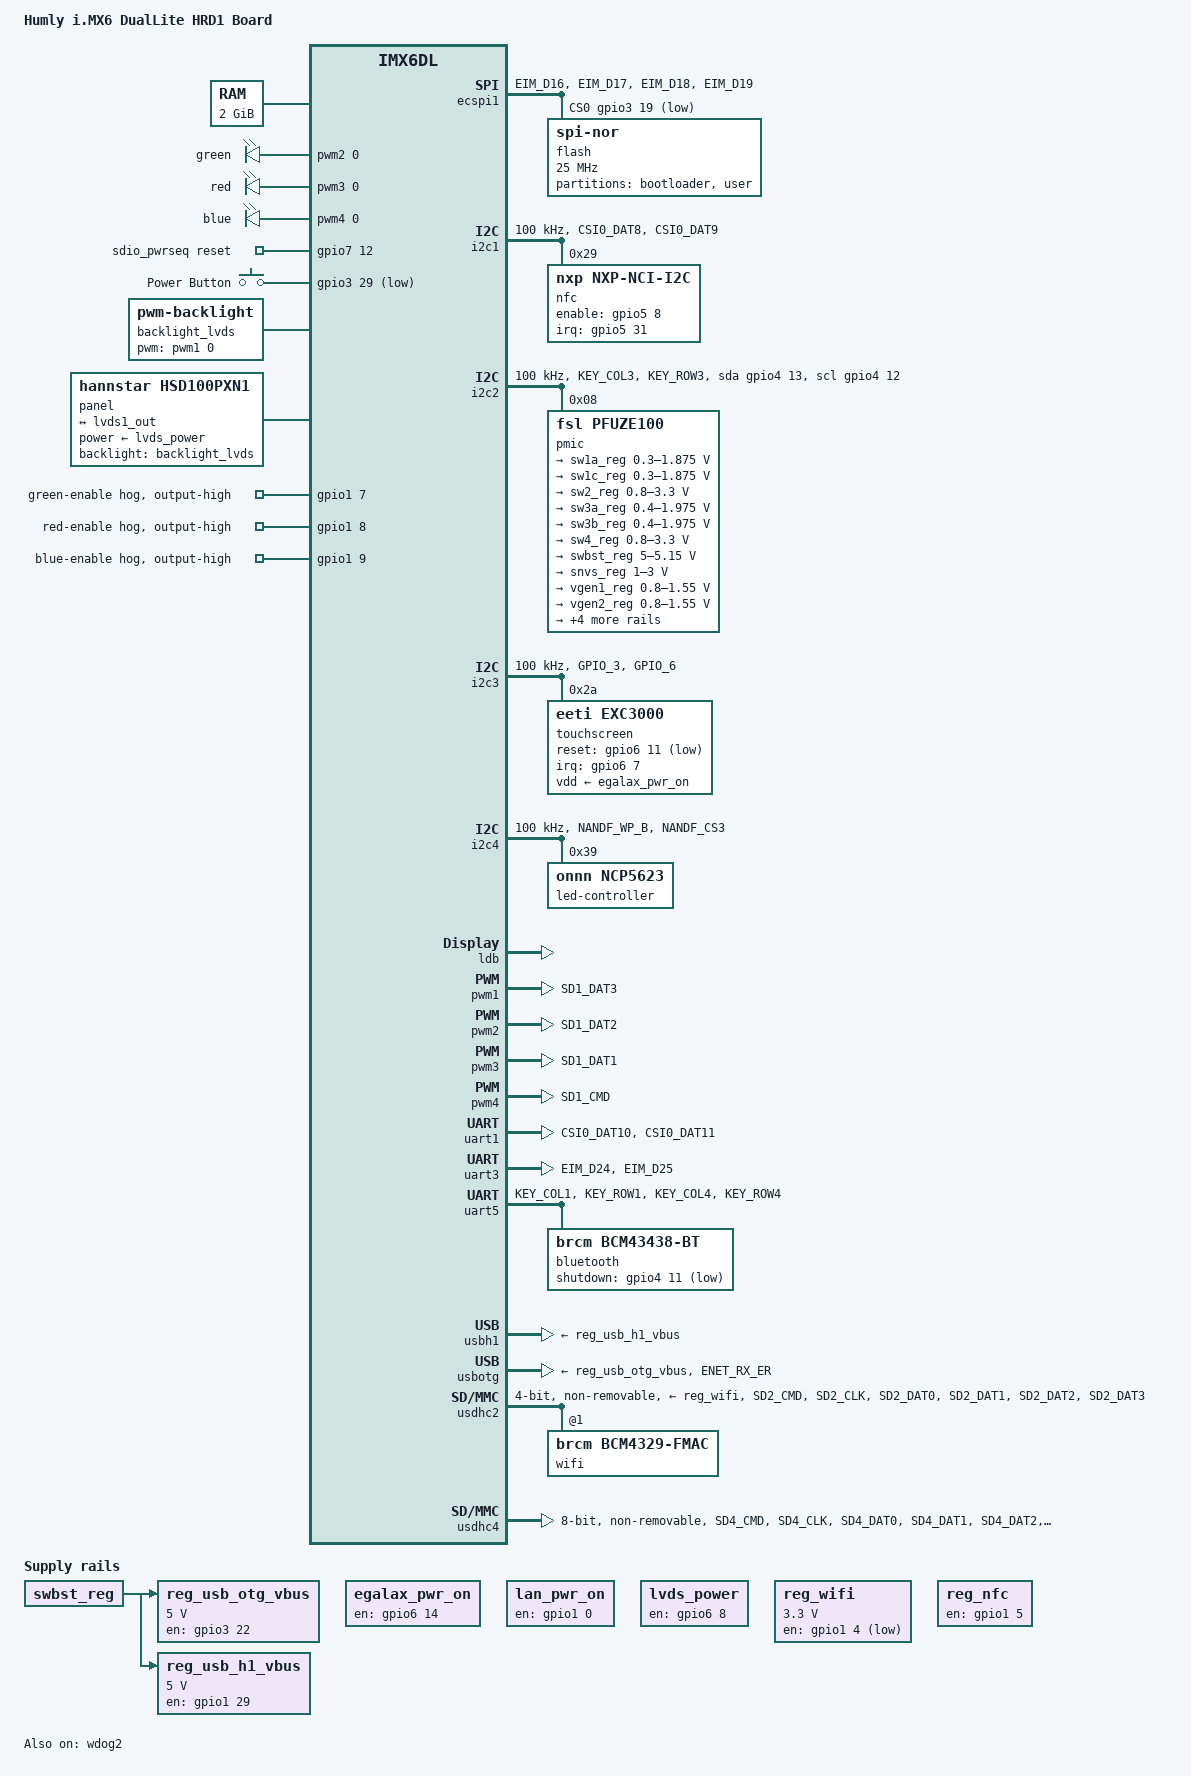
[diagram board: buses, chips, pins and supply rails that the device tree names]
// SPDX-License-Identifier: (GPL-2.0 OR MIT)
//
// Copyright (C) 2025 Fabio Estevam

/dts-v1/;

#include <dt-bindings/clock/imx6qdl-clock.h>
#include <dt-bindings/gpio/gpio.h>
#include <dt-bindings/input/input.h>
#include <dt-bindings/leds/common.h>

#include "imx6dl.dtsi"

/ {
	model = "Humly i.MX6 DualLite HRD1 Board";
	compatible = "humly,imx6dl-hrd1", "fsl,imx6dl";

	chosen {
		stdout-path = &uart1;
	};

	aliases {
		mmc0 = &usdhc4;
		mmc1 = &usdhc2;
	};

	memory: memory@10000000 {
		device_type = "memory";
		reg = <0x10000000 0x80000000>;
	};

	led-controller {
		compatible = "pwm-leds";

		led-0 {
			label = "green";
			pwms = <&pwm2 0 5000000 0>;
			max-brightness = <255>;
		};

		led-1 {
			label = "red";
			pwms = <&pwm3 0 5000000 0>;
			max-brightness = <255>;
		};

		led-2 {
			label = "blue";
			pwms = <&pwm4 0 5000000 0>;
			max-brightness = <255>;
		};
	};

	reg_usb_otg_vbus: regulator-usb-otg-vbus {
		compatible = "regulator-fixed";
		regulator-name = "usb_otg_vbus";
		regulator-min-microvolt = <5000000>;
		regulator-max-microvolt = <5000000>;
		gpio = <&gpio3 22 GPIO_ACTIVE_HIGH>;
		enable-active-high;
		vin-supply = <&swbst_reg>;
	};

	reg_usb_h1_vbus: regulator-usb-h1-vbus {
		compatible = "regulator-fixed";
		regulator-name = "usb_h1_vbus";
		regulator-min-microvolt = <5000000>;
		regulator-max-microvolt = <5000000>;
		gpio = <&gpio1 29 GPIO_ACTIVE_HIGH>;
		enable-active-high;
		vin-supply = <&swbst_reg>;
	};

	egalax_pwr_on: regulator-egalax-pwr-on {
		compatible = "regulator-fixed";
		enable-active-high;
		gpio = <&gpio6 14 GPIO_ACTIVE_HIGH>;
		pinctrl-names = "default";
		pinctrl-0 = <&pinctrl_egalax_pwr_on>;
		regulator-name = "egalax_pwr_on";
	};

	lan_pwr_on: reguator-lan-pwr-on {
		compatible = "regulator-fixed";
		enable-active-high;
		gpio = <&gpio1 0 GPIO_ACTIVE_HIGH>;
		pinctrl-names = "default";
		pinctrl-0 = <&pinctrl_lanpwr>;
		regulator-name = "lan_pwr_on";
		regulator-always-on;
		regulator-boot-on;
	};

	lvds_power: regulator-lvds-power {
		compatible = "regulator-fixed";
		enable-active-high;
		gpio = <&gpio6 8 GPIO_ACTIVE_HIGH>;
		pinctrl-names = "default";
		pinctrl-0 = <&pinctrl_lvds_power>;
		regulator-name = "lvds_power";
		regulator-always-on;
		regulator-boot-on;
	};

	reg_wifi: regulator-wifi {
		compatible = "regulator-fixed";
		gpio = <&gpio1 4 GPIO_ACTIVE_LOW>;
		pinctrl-names = "default";
		pinctrl-0 = <&pinctrl_wifi_reg>;
		regulator-name = "wifi_reg";
		regulator-min-microvolt = <3300000>;
		regulator-max-microvolt = <3300000>;
	};

	reg_nfc: regulator-nfc {
		compatible = "regulator-fixed";
		gpio = <&gpio1 5 GPIO_ACTIVE_HIGH>;
		enable-active-high;
		regulator-name = "nfc_reg";
		regulator-always-on;
		regulator-boot-on;
	};

	sdio_pwrseq: sdio-pwrseq {
		compatible = "mmc-pwrseq-simple";
		pinctrl-names = "default";
		pinctrl-0 = <&pinctrl_wl_reg_on>;
		post-power-on-delay-ms = <200>;
		/* WL_REG_ON pin goes through an inverter */
		reset-gpios = <&gpio7 12 GPIO_ACTIVE_HIGH>;
	};

	gpio-keys {
		compatible = "gpio-keys";
		pinctrl-names = "default";
		pinctrl-0 = <&pinctrl_gpio_keys>;

		button {
			label = "Power Button";
			gpios = <&gpio3 29 GPIO_ACTIVE_LOW>;
			wakeup-source;
			linux,code = <KEY_POWER>;
		};
	};

	backlight_lvds: backlight-lvds {
		compatible = "pwm-backlight";
		pwms = <&pwm1 0 100000 0>;
		brightness-levels = <0 4 8 16 32 64 128 255>;
		default-brightness-level = <7>;
		status = "okay";
	};

	panel {
		compatible = "hannstar,hsd100pxn1";
		backlight = <&backlight_lvds>;
		power-supply = <&lvds_power>;

		port {
			panel_in: endpoint {
				remote-endpoint = <&lvds1_out>;
			};
		};
	};
};

&clks {
	assigned-clocks = <&clks IMX6QDL_CLK_LDB_DI0_SEL>,
			  <&clks IMX6QDL_CLK_LDB_DI1_SEL>;
	assigned-clock-parents = <&clks IMX6QDL_CLK_PLL2_PFD0_352M>,
				 <&clks IMX6QDL_CLK_PLL2_PFD0_352M>;
};

&ecspi1 {
	pinctrl-names = "default";
	pinctrl-0 = <&pinctrl_ecspi1>;
	cs-gpios = <&gpio3 19 GPIO_ACTIVE_LOW>;
	status = "okay";

	flash@0 {
		compatible = "jedec,spi-nor";
		reg = <0>;
		#address-cells = <1>;
		#size-cells = <1>;
		spi-max-frequency = <25000000>;


		partition@0 {
			label = "bootloader";
			reg = <0x0000000 0x100000>;
		};

		partition@100000 {
			label = "user";
			reg = <0x0100000 0x020000>;
		};
	};
};

&gpio1 {
	green-hog {
		gpio-hog;
		gpios = <7 GPIO_ACTIVE_HIGH>;
		line-name = "green-enable";
		output-high;
	};

	red-hog {
		gpio-hog;
		gpios = <8 GPIO_ACTIVE_HIGH>;
		line-name = "red-enable";
		output-high;
	};

	blue-hog {
		gpio-hog;
		gpios = <9 GPIO_ACTIVE_HIGH>;
		line-name = "blue-enable";
		output-high;
	};
};

&i2c1 {
	clock-frequency = <100000>;
	pinctrl-names = "default";
	pinctrl-0 = <&pinctrl_i2c1>;
	status = "okay";

        nfc@29 {
		compatible = "nxp,nxp-nci-i2c";
		reg = <0x29>;
		interrupt-parent = <&gpio5>;
		interrupts = <31 IRQ_TYPE_LEVEL_HIGH>;
		enable-gpios = <&gpio5 8 GPIO_ACTIVE_HIGH>;
	};
};

&i2c2 {
	clock-frequency = <100000>;
	pinctrl-names = "default", "gpio";
	pinctrl-0 = <&pinctrl_i2c2>;
	pinctrl-1 = <&pinctrl_i2c2_gpio>;
	scl-gpios = <&gpio4 12 GPIO_ACTIVE_HIGH>;
	sda-gpios = <&gpio4 13 GPIO_ACTIVE_HIGH>;
	status = "okay";

	pmic@8 {
		compatible = "fsl,pfuze100";
		reg = <0x08>;

		regulators {
			sw1a_reg: sw1ab {
				regulator-min-microvolt = <300000>;
				regulator-max-microvolt = <1875000>;
				regulator-boot-on;
				regulator-always-on;
				regulator-ramp-delay = <6250>;
			};

			sw1c_reg: sw1c {
				regulator-min-microvolt = <300000>;
				regulator-max-microvolt = <1875000>;
				regulator-boot-on;
				regulator-always-on;
				regulator-ramp-delay = <6250>;
			};

			sw2_reg: sw2 {
				regulator-min-microvolt = <800000>;
				regulator-max-microvolt = <3300000>;
				regulator-boot-on;
				regulator-always-on;
				regulator-ramp-delay = <6250>;
			};

			sw3a_reg: sw3a {
				regulator-min-microvolt = <400000>;
				regulator-max-microvolt = <1975000>;
				regulator-boot-on;
				regulator-always-on;
			};

			sw3b_reg: sw3b {
				regulator-min-microvolt = <400000>;
				regulator-max-microvolt = <1975000>;
				regulator-boot-on;
				regulator-always-on;
			};

			sw4_reg: sw4 {
				regulator-min-microvolt = <800000>;
				regulator-max-microvolt = <3300000>;
				regulator-always-on;
			};

			swbst_reg: swbst {
				regulator-min-microvolt = <5000000>;
				regulator-max-microvolt = <5150000>;
			};

			snvs_reg: vsnvs {
				regulator-min-microvolt = <1000000>;
				regulator-max-microvolt = <3000000>;
				regulator-boot-on;
				regulator-always-on;
			};

			vref_reg: vrefddr {
				regulator-boot-on;
				regulator-always-on;
			};

			vgen1_reg: vgen1 {
				regulator-min-microvolt = <800000>;
				regulator-max-microvolt = <1550000>;
			};

			vgen2_reg: vgen2 {
				regulator-min-microvolt = <800000>;
				regulator-max-microvolt = <1550000>;
			};

			vgen3_reg: vgen3 {
				regulator-min-microvolt = <1800000>;
				regulator-max-microvolt = <3300000>;
			};

			vgen4_reg: vgen4 {
				regulator-min-microvolt = <1800000>;
				regulator-max-microvolt = <3300000>;
				regulator-always-on;
			};

			vgen5_reg: vgen5 {
				regulator-min-microvolt = <1800000>;
				regulator-max-microvolt = <3300000>;
				regulator-always-on;
			};

			vgen6_reg: vgen6 {
				regulator-min-microvolt = <1800000>;
				regulator-max-microvolt = <3300000>;
				regulator-always-on;
			};
		};
	};
};

&i2c3 {
	clock-frequency = <100000>;
	pinctrl-names = "default";
	pinctrl-0 = <&pinctrl_i2c3>;
	status = "okay";

	touchscreen@2a {
		compatible = "eeti,exc3000";
		pinctrl-names = "default";
		pinctrl-0 = <&pinctrl_i2c2_egalax_int>;
		reg = <0x2a>;
		interrupt-parent = <&gpio6>;
		interrupts = <7 IRQ_TYPE_LEVEL_LOW>;
		vdd-supply = <&egalax_pwr_on>;
		touchscreen-size-x = <1024>;
		touchscreen-size-y = <768>;
		reset-gpios = <&gpio6 11 GPIO_ACTIVE_LOW>;
	};
};

&i2c4 {
	clock-frequency = <100000>;
	pinctrl-names = "default";
	pinctrl-0 = <&pinctrl_i2c4>;
	status = "okay";

	led-controller@39 {
		compatible = "onnn,ncp5623";
		reg = <0x39>;

		multi-led {
			color = <LED_COLOR_ID_RGB>;
			#address-cells = <1>;
			#size-cells = <0>;

			led@0 {
				reg = <0>;
				color = <LED_COLOR_ID_GREEN>;
			};

			led@1 {
				reg = <1>;
				color = <LED_COLOR_ID_RED>;
			};

			led@2 {
				reg = <2>;
				color = <LED_COLOR_ID_BLUE>;
			};
		};
	};
};

&ldb {
	status = "okay";

	lvds-channel@1 {
		fsl,data-mapping = "spwg";
		fsl,data-width = <24>;
		status = "okay";

		port@4 {
			reg = <4>;

			lvds1_out: endpoint {
				remote-endpoint = <&panel_in>;
			};
		};
	};
};

&pwm1 {
	pinctrl-names = "default";
	pinctrl-0 = <&pinctrl_pwm1>;
	status = "okay";
};

&pwm2 {
	pinctrl-names = "default";
	pinctrl-0 = <&pinctrl_pwm2>;
	status = "okay";
};

&pwm3 {
	pinctrl-names = "default";
	pinctrl-0 = <&pinctrl_pwm3>;
	status = "okay";
};

&pwm4 {
	pinctrl-names = "default";
	pinctrl-0 = <&pinctrl_pwm4>;
	status = "okay";
};

&reg_arm {
	vin-supply = <&sw1a_reg>;
};

&reg_pu {
	in-supply = <&sw1c_reg>;
};

&reg_soc {
	vin-supply = <&sw1c_reg>;
};

&reg_vdd1p1 {
	vin-supply = <&vgen5_reg>;
};

&reg_vdd2p5 {
	vin-supply = <&vgen5_reg>;
};

&snvs_poweroff {
	status = "okay";
};

&uart1 {
	pinctrl-names = "default";
	pinctrl-0 = <&pinctrl_uart1>;
	status = "okay";
};

&uart3 {
	pinctrl-names = "default";
	pinctrl-0 = <&pinctrl_uart3>;
	uart-has-rtscts;
	status = "okay";
};

/* Bluetooth */
&uart5 {
	pinctrl-names = "default";
	pinctrl-0 = <&pinctrl_uart5>;
	uart-has-rtscts;
	status = "okay";

	bluetooth {
		compatible = "brcm,bcm43438-bt";
		max-speed = <3000000>;
		shutdown-gpios = <&gpio4 11 GPIO_ACTIVE_LOW>;
	};
};

&usbh1 {
	vbus-supply = <&reg_usb_h1_vbus>;
	status = "okay";
};

&usbotg {
	vbus-supply = <&reg_usb_otg_vbus>;
	pinctrl-names = "default";
	pinctrl-0 = <&pinctrl_usbotg>;
	disable-over-current;
	status = "okay";
};

/* SDIO */
&usdhc2 {
	#address-cells = <1>;
	#size-cells = <0>;
	pinctrl-names = "default";
	pinctrl-0 = <&pinctrl_usdhc2>;
	pinctrl-1 = <&pinctrl_usdhc2_100mhz>;
	pinctrl-2 = <&pinctrl_usdhc2_200mhz>;
	vmmc-supply = <&reg_wifi>;
	bus-width = <4>;
	non-removable;
	keep-power-in-suspend;
	mmc-pwrseq = <&sdio_pwrseq>;
	status = "okay";

	wifi@1 {
		compatible = "brcm,bcm4329-fmac";
		reg = <1>;
	};
};

/* eMMC */
&usdhc4 {
	pinctrl-names = "default";
	pinctrl-0 = <&pinctrl_usdhc4>;
	bus-width = <8>;
	non-removable;
	no-1-8-v;
	status = "okay";
};

&wdog1 {
	status = "disabled";
};

&wdog2 {
	pinctrl-names = "default";
	pinctrl-0 = <&pinctrl_wdog>;
	fsl,ext-reset-output;
	status = "okay";
};

&iomuxc {
	pinctrl-names = "default";
	pinctrl-0 = <&pinctrl_hog>;

	pinctrl_hog: hoggrp {
		fsl,pins = <
			MX6QDL_PAD_SD3_DAT4__GPIO7_IO01         0x1b0b0 // TP14
			MX6QDL_PAD_SD3_DAT5__GPIO7_IO00         0x1b0b0 // TP15
			MX6QDL_PAD_SD3_DAT6__GPIO6_IO18         0x1b0b0 // TP13
			MX6QDL_PAD_SD3_DAT7__GPIO6_IO17         0x1b0b0 // TP16
			MX6QDL_PAD_SD3_RST__GPIO7_IO08          0x1b0b0 // TP18
			MX6QDL_PAD_ENET_TXD1__GPIO1_IO29        0x1b0b0 // USB_H1_PWR_EN
			MX6QDL_PAD_ENET_CRS_DV__GPIO1_IO25      0x1b0b0 // RGMII_nRST
			MX6QDL_PAD_KEY_COL0__GPIO4_IO06         0x1b0b0 // BT_WAKUP_B
			MX6QDL_PAD_KEY_ROW0__GPIO4_IO07         0x1b0b0 // TP12
			MX6QDL_PAD_KEY_COL2__GPIO4_IO10         0x1b0b0 // LCD_STBYB
			MX6QDL_PAD_GPIO_2__GPIO1_IO02           0x1b0b0 // BT_HOST_WAKEUP_B
			MX6QDL_PAD_GPIO_5__GPIO1_IO05           0x1b0b0 // NFC_PWREN
			MX6QDL_PAD_GPIO_7__GPIO1_IO07           0x1b0b0 // LED_GREEN
			MX6QDL_PAD_GPIO_8__GPIO1_IO08           0x1b0b0 // LED_RED
			MX6QDL_PAD_GPIO_9__GPIO1_IO09           0x1b0b0 // LED_BLUE
			MX6QDL_PAD_GPIO_18__GPIO7_IO13          0x1b0b0 // PMIC_INT_B
			MX6QDL_PAD_GPIO_19__GPIO4_IO05          0x1b0b0 // SENSOR_INT
			MX6QDL_PAD_NANDF_CS0__GPIO6_IO11        0x1b0b0 // TOUCH_RST
			MX6QDL_PAD_NANDF_CS2__GPIO6_IO15        0x1b0b0 // TOUCH_MODE_SW
			MX6QDL_PAD_NANDF_RB0__GPIO6_IO10        0x1b0b0 // AUX_5V_EN
			MX6QDL_PAD_NANDF_D0__GPIO2_IO00         0x1b0b0 // SD3_CD_B
			MX6QDL_PAD_NANDF_D1__GPIO2_IO01         0x1b0b0 // SD3_WP
			MX6QDL_PAD_NANDF_D2__GPIO2_IO02         0x1b0b0 // SD2_CD_B
			MX6QDL_PAD_NANDF_D3__GPIO2_IO03         0x1b0b0 // SD2_WP
			MX6QDL_PAD_NANDF_D4__GPIO2_IO04         0x1b0b0 // TP51
			MX6QDL_PAD_NANDF_D5__GPIO2_IO05         0x1b0b0 // TP49
			MX6QDL_PAD_NANDF_D6__GPIO2_IO06         0x1b0b0 // TP19
			MX6QDL_PAD_NANDF_D7__GPIO2_IO07         0x1b0b0 // TP50
			MX6QDL_PAD_CSI0_DAT13__GPIO5_IO31       0x1b0b0 // NFC_IRQ
			MX6QDL_PAD_CSI0_DAT17__GPIO6_IO03       0x1b0b0 // NFC_FW_UG
			MX6QDL_PAD_CSI0_DAT19__GPIO6_IO05       0x1b0b0 // TP39
			MX6QDL_PAD_EIM_D22__GPIO3_IO22          0x1b0b0 // USB_OTG_PWR_EN
			MX6QDL_PAD_EIM_D30__USB_H1_OC           0x1b0b0 // USB_OTG_OC
			MX6QDL_PAD_EIM_EB3__GPIO2_IO31          0x1b0b0 // SENSOR_PWR_EN
			MX6QDL_PAD_DISP0_DAT18__GPIO5_IO12      0x1b0b0 // SPINOR_WP
			MX6QDL_PAD_DISP0_DAT14__GPIO5_IO08      0x1b0b0 // NFC_VEN
			MX6QDL_PAD_DISP0_DAT17__GPIO5_IO11      0x1b0b0 // BOARD_ID0
			MX6QDL_PAD_DISP0_DAT22__GPIO5_IO16      0x1b0b0 // BOARD_ID1
			MX6QDL_PAD_DISP0_DAT23__GPIO5_IO17      0x1b0b0 // BOARD_ID2
			MX6QDL_PAD_KEY_ROW2__GPIO4_IO11         0x1b0b0 // BT_RESET
		>;
	};

	pinctrl_ecspi1: ecspi1grp {
		fsl,pins = <
			MX6QDL_PAD_EIM_D16__ECSPI1_SCLK         0x100b1
			MX6QDL_PAD_EIM_D17__ECSPI1_MISO         0x100b1
			MX6QDL_PAD_EIM_D18__ECSPI1_MOSI         0x100b1
			MX6QDL_PAD_EIM_D19__GPIO3_IO19          0x100b1
		>;
	};

	pinctrl_gpio_keys: gpio_keysgrp {
		fsl,pins = <
			MX6QDL_PAD_EIM_D29__GPIO3_IO29 0x1b0b0
		>;
	};

	pinctrl_i2c1: i2c1grp {
		fsl,pins = <
			MX6QDL_PAD_CSI0_DAT8__I2C1_SDA		0x4001b8b1
			MX6QDL_PAD_CSI0_DAT9__I2C1_SCL		0x4001b8b1
			>;
	};

	pinctrl_i2c2: i2c2grp {
		fsl,pins = <
			MX6QDL_PAD_KEY_COL3__I2C2_SCL		0x4001b8b1
			MX6QDL_PAD_KEY_ROW3__I2C2_SDA		0x4001b8b1
			>;
	};

	pinctrl_i2c2_gpio: i2c2_gpio_grp {
		fsl,pins = <
			MX6QDL_PAD_KEY_COL3__GPIO4_IO12		0x1b8b0
			MX6QDL_PAD_KEY_ROW3__GPIO4_IO13		0x1b0b0
		>;
	};

	pinctrl_i2c2_egalax_int: i2c2egalaxintgrp {
		fsl,pins = <
			MX6QDL_PAD_NANDF_CLE__GPIO6_IO07        0x1b0b0
		>;
	};

	pinctrl_egalax_pwr_on: egalaxpwrgrp {
		fsl,pins = <
			MX6QDL_PAD_NANDF_CS1__GPIO6_IO14        0x1b0b0
		>;
	};

	pinctrl_i2c3: i2c3grp {
		fsl,pins = <
			MX6QDL_PAD_GPIO_3__I2C3_SCL		0x4001b8b1
			MX6QDL_PAD_GPIO_6__I2C3_SDA		0x4001b8b1
		>;
	};

	pinctrl_i2c4: i2c4grp {
		fsl,pins = <
			MX6QDL_PAD_NANDF_WP_B__I2C4_SCL         0x4001b8b1
			MX6QDL_PAD_NANDF_CS3__I2C4_SDA          0x4001b8b1
		>;
	};

	pinctrl_lvds_power: lvdspwrgrp {
		fsl,pins = <
			MX6QDL_PAD_NANDF_ALE__GPIO6_IO08        0x1b0b0
		>;
	};

	pinctrl_pwm1: pwm1grp {
		fsl,pins = <
			MX6QDL_PAD_SD1_DAT3__PWM1_OUT		0x1b0b1
		>;
	};

	pinctrl_pwm2: pwm2grp {
		fsl,pins = <
			MX6QDL_PAD_SD1_DAT2__PWM2_OUT           0x1b0b1
		>;
	};

	pinctrl_pwm3: pwm3grp {
		fsl,pins = <
			MX6QDL_PAD_SD1_DAT1__PWM3_OUT           0x1b0b1
		>;
	};

	pinctrl_pwm4: pwm4grp {
		fsl,pins = <
			MX6QDL_PAD_SD1_CMD__PWM4_OUT            0x1b0b1
		>;
	};

	pinctrl_uart1: uart1grp {
		fsl,pins = <
			MX6QDL_PAD_CSI0_DAT10__UART1_TX_DATA	0x1b0b1
			MX6QDL_PAD_CSI0_DAT11__UART1_RX_DATA	0x1b0b1
		>;
	};

	pinctrl_uart3: uart3grp {
		fsl,pins = <
			MX6QDL_PAD_EIM_D24__UART3_TX_DATA       0x1b0b1
			MX6QDL_PAD_EIM_D25__UART3_RX_DATA       0x1b0b1
		>;
	};

	pinctrl_uart5: uart5grp {
		fsl,pins = <
			MX6QDL_PAD_KEY_COL1__UART5_TX_DATA      0x1b0b1
			MX6QDL_PAD_KEY_ROW1__UART5_RX_DATA      0x1b0b1
			MX6QDL_PAD_KEY_COL4__UART5_RTS_B        0x1b0b1
			MX6QDL_PAD_KEY_ROW4__UART5_CTS_B        0x1b0b1
		>;
	};

	pinctrl_usbotg: usbotggrp {
		fsl,pins = <
			MX6QDL_PAD_ENET_RX_ER__USB_OTG_ID	0x17059
		>;
	};

	pinctrl_lanpwr: lanpwrgrp {
		fsl,pins = <
			MX6QDL_PAD_GPIO_0__GPIO1_IO00		0x17059
		>;
	};

	pinctrl_usdhc2: usdhc2grp {
		fsl,pins = <
			MX6QDL_PAD_SD2_CMD__SD2_CMD		0x17059
			MX6QDL_PAD_SD2_CLK__SD2_CLK		0x10059
			MX6QDL_PAD_SD2_DAT0__SD2_DATA0		0x17059
			MX6QDL_PAD_SD2_DAT1__SD2_DATA1		0x17059
			MX6QDL_PAD_SD2_DAT2__SD2_DATA2		0x17059
			MX6QDL_PAD_SD2_DAT3__SD2_DATA3		0x17059
		>;
	};

	pinctrl_usdhc2_100mhz: usdhc2grp100mhzgrp {
		fsl,pins = <
			MX6QDL_PAD_SD2_CMD__SD2_CMD		0x170b9
			MX6QDL_PAD_SD2_CLK__SD2_CLK		0x100b9
			MX6QDL_PAD_SD2_DAT0__SD2_DATA0		0x170b9
			MX6QDL_PAD_SD2_DAT1__SD2_DATA1		0x170b9
			MX6QDL_PAD_SD2_DAT2__SD2_DATA2		0x170b9
			MX6QDL_PAD_SD2_DAT3__SD2_DATA3		0x170b9
		>;
	};

	pinctrl_usdhc2_200mhz: usdhc2grp200mhzgrp {
		fsl,pins = <
			MX6QDL_PAD_SD2_CMD__SD2_CMD		0x170f9
			MX6QDL_PAD_SD2_CLK__SD2_CLK		0x100f9
			MX6QDL_PAD_SD2_DAT0__SD2_DATA0		0x170f9
			MX6QDL_PAD_SD2_DAT1__SD2_DATA1		0x170f9
			MX6QDL_PAD_SD2_DAT2__SD2_DATA2		0x170f9
			MX6QDL_PAD_SD2_DAT3__SD2_DATA3		0x170f9
		>;
	};

	pinctrl_usdhc4: usdhc4grp {
		fsl,pins = <
			MX6QDL_PAD_SD4_CMD__SD4_CMD		0x17059
			MX6QDL_PAD_SD4_CLK__SD4_CLK		0x10059
			MX6QDL_PAD_SD4_DAT0__SD4_DATA0		0x17059
			MX6QDL_PAD_SD4_DAT1__SD4_DATA1		0x17059
			MX6QDL_PAD_SD4_DAT2__SD4_DATA2		0x17059
			MX6QDL_PAD_SD4_DAT3__SD4_DATA3		0x17059
			MX6QDL_PAD_SD4_DAT4__SD4_DATA4		0x17059
			MX6QDL_PAD_SD4_DAT5__SD4_DATA5		0x17059
			MX6QDL_PAD_SD4_DAT6__SD4_DATA6		0x17059
			MX6QDL_PAD_SD4_DAT7__SD4_DATA7		0x17059
		>;
	};

	pinctrl_wdog: wdoggrp {
		fsl,pins = <
			MX6QDL_PAD_GPIO_1__WDOG2_B		0x1b0b0
		>;
	};

	pinctrl_wifi_reg: wifireggrp {
		fsl,pins = <
			MX6QDL_PAD_GPIO_4__GPIO1_IO04		0x1b0b0
		>;
	};

	pinctrl_wl_reg_on: wlregongrp {
		fsl,pins = <
			MX6QDL_PAD_GPIO_17__GPIO7_IO12		0x1b0b0
		>;
	};
};
